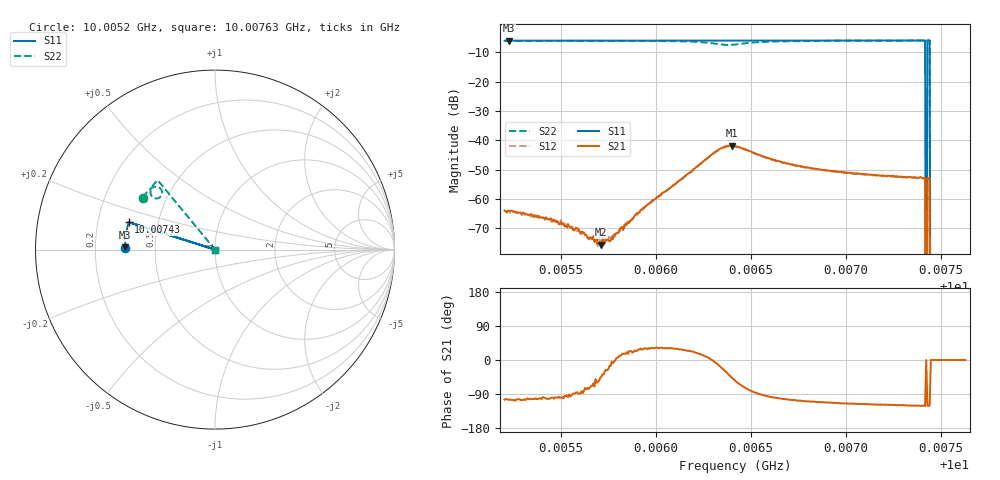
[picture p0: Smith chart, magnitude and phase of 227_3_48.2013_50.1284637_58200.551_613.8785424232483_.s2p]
#  HZ  S  RI  R  50.00
! Rohde & Schwarz Vector Network Analyzer
! Rohde-Schwarz,ZNB20-2Port,1311601062101988,3.16
! Created: UTC 3/20/2024, 11:46:12 AM
! freq[Hz]  re:S11  im:S11  re:S21  im:S21  re:S12  im:S12  re:S22  im:S22
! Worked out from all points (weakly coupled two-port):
!   401 points, 10.0052 GHz to 10.00763 GHz, reference 50 ohm
!   highest |S21| = -41.87 dB at 10.0064 GHz (marker M1); lowest = -75.7 dB at 10.00571 GHz (marker M2)
!   lowest |S11| = -6.0 dB at 10.00523 GHz (marker M3), VSWR 3.00, Z = 16.7 + j0.55 ohm
!   |S11| at or under -10 dB: 10.00742 GHz to 10.00743 GHz (11.88 kHz wide, 0.000119 % of centre); 10.00744 GHz to end of sweep
!   |S22| runs from - to -6.0 dB; largest |S21 - S12| = 0.00046
!   S11 on the Smith chart (normalised r, x): 10.0052 GHz: 0.33, +0.01; 10.00743 GHz: 0.34, +0.14; 10.00763 GHz: 1.00, +0.00
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1.0005204e10  -0.5001 0.0109  -0.00016 -0.000608  -0.000124 -0.000604  -0.4016 0.29
1.0005228e10  -0.4999 0.0124  -0.000166 -0.000601  -0.000133 -0.000594  -0.4008 0.2914
1.0005513e10  -0.4998 0.031  -7.36e-05 -0.000374  -3.35e-05 -0.00038  -0.3889 0.3083
1.000561e10  -0.4996 0.0372  3.91e-05 -0.000272  4.75e-05 -0.00025  -0.3842 0.3143
1.0005689e10  -0.4994 0.0424  0.000104 -0.000181  0.000103 -0.00014  -0.3802 0.3192
1.0005713e10  -0.4992 0.044  0.000117 -0.000114  0.000149 -8.65e-05  -0.3791 0.3206
1.0005762e10  -0.4991 0.047  0.000185 -5.25e-05  0.000208 -4.55e-05  -0.3763 0.3237
1.0005895e10  -0.4985 0.0557  0.000504 0.00022  0.000471 0.000254  -0.3676 0.3324
1.0006017e10  -0.4975 0.0636  0.000951 0.00059  0.000937 0.000629  -0.3575 0.3409
1.0006314e10  -0.4947 0.0827  0.00633 -0.000749  0.00617 -0.000402  -0.2973 0.3305
1.0006399e10  -0.4941 0.0876  0.00561 -0.00579  0.00576 -0.00536  -0.3117 0.2883
1.0006417e10  -0.494 0.0888  0.00463 -0.00641  0.00488 -0.00605  -0.3216 0.2853
1.000663e10  -0.4924 0.1023  -0.000744 -0.00448  -0.000553 -0.00439  -0.3594 0.3259
1.0006824e10  -0.4901 0.1147  -0.00113 -0.00313  -0.000949 -0.00313  -0.3512 0.3485
1.000723e10  -0.4844 0.1404  -0.00119 -0.00217  -0.00102 -0.00218  -0.3301 0.3756
1.0007406e10  -0.4815 0.1512  -0.00116 -0.00193  -0.00106 -0.00196  -0.3213 0.3848
1.0007412e10  -0.4814 0.1516  -0.00114 -0.00197  -0.00105 -0.00196  -0.321 0.3853
1.000743e10  -0.4812 0.1527  -0.00116 -0.00196  -0.00106 -0.00194  -0.3201 0.386
1.0007437e10  -0.4809 0.1531  -0.00116 -0.00192  -0.00106 -0.00193  -0.3197 0.3865
1.0007443e10  -0.4808 0.1535  -0.00114 -0.00196  -0.00105 -0.00193  -0.3193 0.3868
1.0007461e10  0 0  0 0  0 0  0 0
1.0007631e10  0 0  0 0  0 0  0 0
